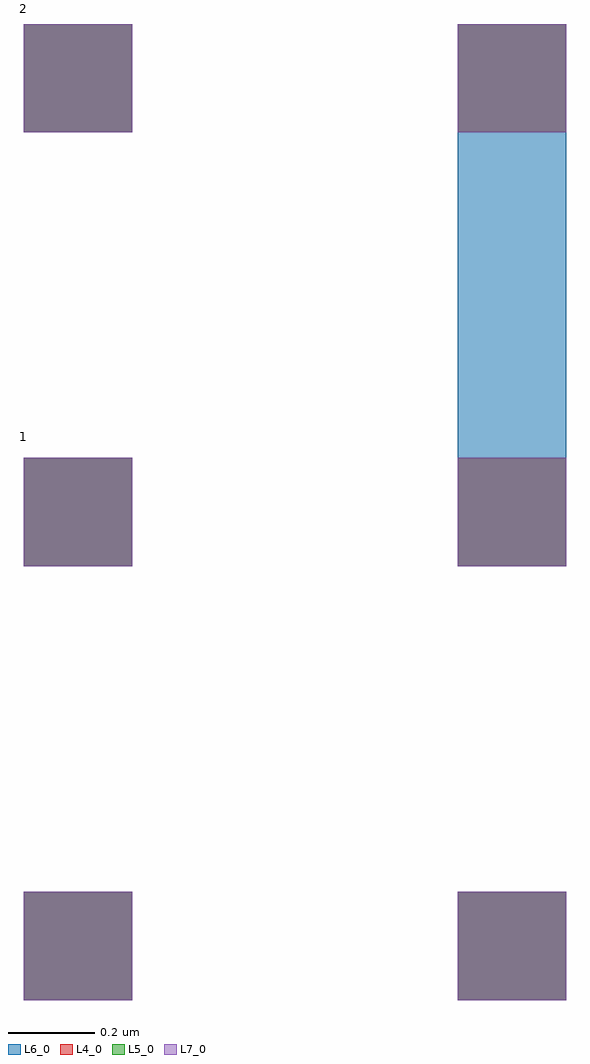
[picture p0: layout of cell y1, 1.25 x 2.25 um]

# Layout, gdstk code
import gdstk
lib = gdstk.Library(unit=1e-6, precision=1e-09)
def R(c, l, rs):  # rectangles x0, y0, x1, y1
    for r in rs: c.add(gdstk.rectangle(r[:2], r[2:], *l))
def A(c, l, x, y, w, h, nx, ny, dx, dy):  # array of equal rectangles
    R(c, l, [(x+i*dx, y+j*dy, x+i*dx+w, y+j*dy+h) for i in range(nx) for j in range(ny)])
L4_0 = (4, 0)
L5_0 = (5, 0)
L6_0 = (6, 0)
L7_0 = (7, 0)

c_y1 = lib.new_cell('y1')
A(c_y1, L4_0, 0, 0, 0.25, 0.25, 1, 3, 0, 1)
A(c_y1, L4_0, 1, 0, 0.25, 0.25, 1, 3, 0, 1)
A(c_y1, L5_0, 0, 0, 0.25, 0.25, 1, 3, 0, 1)
A(c_y1, L5_0, 1, 0, 0.25, 0.25, 1, 3, 0, 1)
A(c_y1, L6_0, 0, 0, 0.25, 0.25, 1, 3, 0, 1)
A(c_y1, L6_0, 1, 0, 0.25, 0.25, 1, 3, 0, 1)
R(c_y1, L6_0, [(1,1,1.25,2.25)])
A(c_y1, L7_0, 0, 0, 0.25, 0.25, 1, 3, 0, 1)
A(c_y1, L7_0, 1, 0, 0.25, 0.25, 1, 3, 0, 1)
c_y1.add(gdstk.Label('0', (0,-0.125), layer=0, texttype=0))
c_y1.add(gdstk.Label('1', (1,-0.125), layer=0, texttype=0))
c_y1.add(gdstk.Label('1', (0,1.3), layer=0, texttype=0))
c_y1.add(gdstk.Label('2', (0,2.3), layer=0, texttype=0))
c_y1.add(gdstk.Label('1.0', (1.375,1.125), layer=0, texttype=0))

lib.write_gds('y1.gds')
